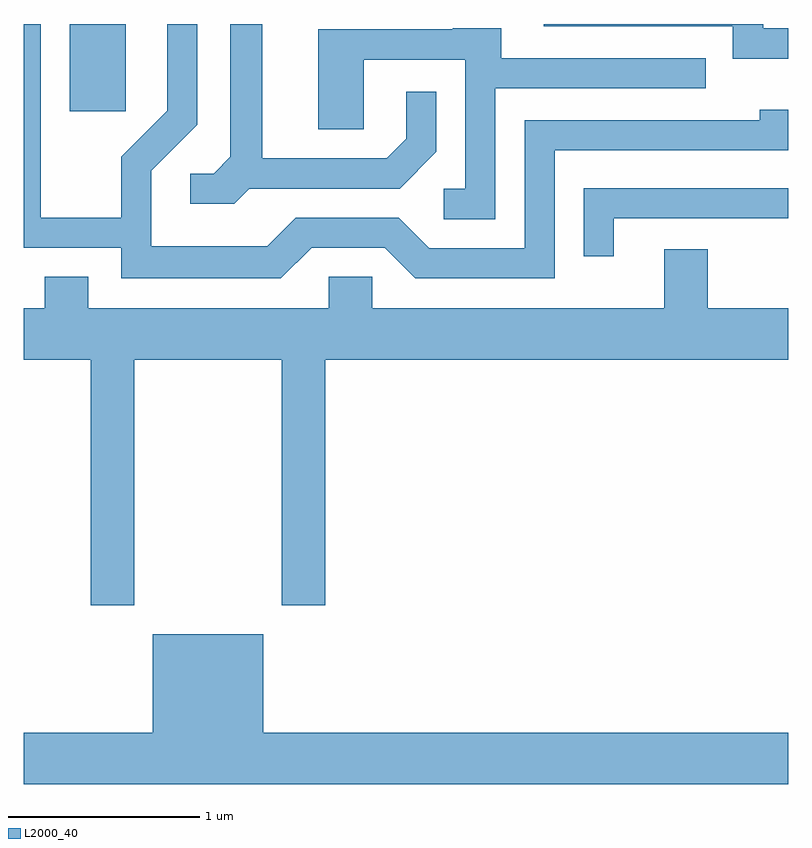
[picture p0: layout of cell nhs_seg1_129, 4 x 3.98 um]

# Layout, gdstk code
import gdstk
lib = gdstk.Library(unit=1e-6, precision=1e-09)
def R(c, l, rs):  # rectangles x0, y0, x1, y1
    for r in rs: c.add(gdstk.rectangle(r[:2], r[2:], *l))
def P(c, l, *ps):  # polygons
    for p in ps: c.add(gdstk.Polygon(p, *l))
L2000_40 = (2000, 40)

nhs_seg1_129 = lib.new_cell('nhs_seg1_129')
R(nhs_seg1_129, L2000_40, [(187.851,965.256,188.144,965.712)])
P(nhs_seg1_129, L2000_40, [(189.117,964.541),(189.499,964.541),(189.659,964.381),(190.389,964.381),(190.389,965.051),(191.611,965.051),(191.611,965.264),(191.461,965.264),(191.461,965.209),(190.231,965.209),(190.231,964.539),(189.732,964.539),(189.572,964.699),(189.034,964.699),(188.884,964.549),(188.279,964.549),(188.279,964.944),(188.519,965.184),(188.519,965.712),(188.361,965.712),(188.361,965.257),(188.121,965.017),(188.121,964.699),(187.699,964.699),(187.699,965.712),(187.611,965.712),(187.611,964.541),(188.121,964.541),(188.121,964.381),(188.957,964.381)],
  [(191.611,965.689),(191.479,965.689),(191.479,965.712),(190.331,965.712),(190.331,965.701),(191.321,965.701),(191.321,965.531),(191.611,965.531)],
  [(188.792,964.851),(189.577,964.851),(189.769,965.044),(189.769,965.358),(189.611,965.358),(189.611,965.112),(189.509,965.009),(188.859,965.009),(188.859,965.712),(188.691,965.712),(188.691,965.017),(188.604,964.929),(188.483,964.929),(188.483,964.771),(188.712,964.771)],
  [(190.079,965.376),(191.178,965.376),(191.178,965.534),(190.109,965.534),(190.109,965.689),(189.855,965.689),(189.855,965.684),(189.151,965.684),(189.151,965.161),(189.389,965.161),(189.389,965.526),(189.921,965.526),(189.921,964.849),(189.808,964.849),(189.808,964.691),(190.079,964.691)],
  [(190.699,964.696),(191.611,964.696),(191.611,964.854),(190.541,964.854),(190.541,964.498),(190.699,964.498)],
  [(188.189,963.956),(188.961,963.956),(188.961,962.671),(189.189,962.671),(189.189,963.956),(191.611,963.956),(191.611,964.224),(191.189,964.224),(191.189,964.534),(190.961,964.534),(190.961,964.224),(189.434,964.224),(189.434,964.389),(189.206,964.389),(189.206,964.224),(187.949,964.224),(187.949,964.389),(187.721,964.389),(187.721,964.224),(187.611,964.224),(187.611,963.956),(187.961,963.956),(187.961,962.671),(188.189,962.671)],
  [(191.611,962.004),(188.864,962.004),(188.864,962.519),(188.286,962.519),(188.286,962.004),(187.611,962.004),(187.611,961.736),(191.611,961.736)])

lib.write_gds('nhs_seg1_129.gds')
